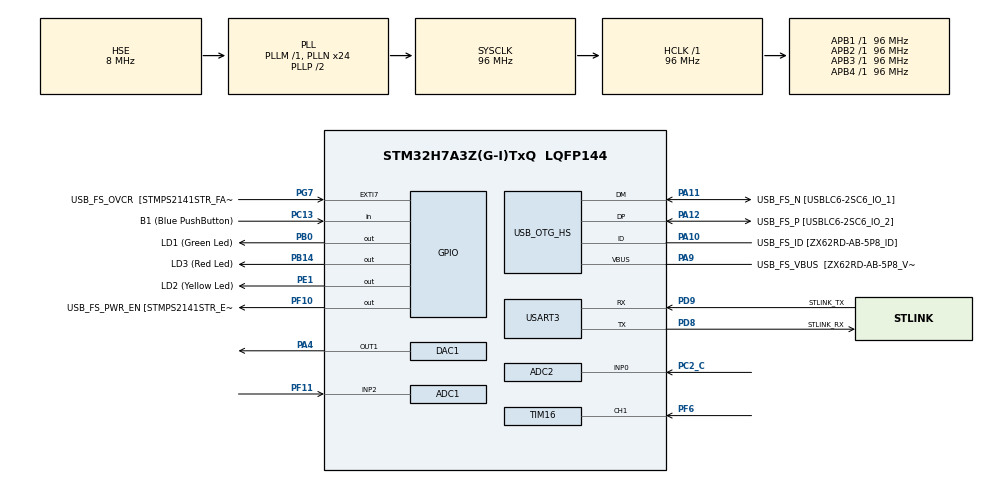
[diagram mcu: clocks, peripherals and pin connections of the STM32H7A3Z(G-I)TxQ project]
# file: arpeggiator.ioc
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ADC1.Channel-0\#ChannelRegularConversion=ADC_CHANNEL_2
ADC1.ContinuousConvMode=ENABLE
ADC1.NbrOfConversionFlag=1
ADC1.OffsetNumber-0\#ChannelRegularConversion=ADC_OFFSET_NONE
ADC1.OffsetSignedSaturation-0\#ChannelRegularConversion=DISABLE
ADC1.Rank-0\#ChannelRegularConversion=1
ADC1.SamplingTime-0\#ChannelRegularConversion=ADC_SAMPLETIME_1CYCLE_5
ADC1.master=1
ADC2.Channel-0\#ChannelRegularConversion=ADC_CHANNEL_0
ADC2.ContinuousConvMode=ENABLE
ADC2.NbrOfConversionFlag=1
ADC2.OffsetNumber-0\#ChannelRegularConversion=ADC_OFFSET_NONE
ADC2.OffsetSignedSaturation-0\#ChannelRegularConversion=DISABLE
ADC2.Rank-0\#ChannelRegularConversion=1
ADC2.SamplingTime-0\#ChannelRegularConversion=ADC_SAMPLETIME_1CYCLE_5
DAC1.DAC_Channel-DAC_OUT1_ExtAndInt=DAC_CHANNEL_1
Dma.ADC1.0.Direction=DMA_PERIPH_TO_MEMORY
Dma.ADC1.0.EventEnable=DISABLE
Dma.ADC1.0.FIFOMode=DMA_FIFOMODE_DISABLE
Dma.ADC1.0.Instance=DMA1_Stream0
Dma.ADC1.0.MemDataAlignment=DMA_MDATAALIGN_HALFWORD
Dma.ADC1.0.MemInc=DMA_MINC_ENABLE
Dma.ADC1.0.Mode=DMA_CIRCULAR
Dma.ADC1.0.PeriphDataAlignment=DMA_PDATAALIGN_HALFWORD
Dma.ADC1.0.PeriphInc=DMA_PINC_DISABLE
Dma.ADC1.0.Polarity=HAL_DMAMUX_REQ_GEN_RISING
Dma.ADC1.0.Priority=DMA_PRIORITY_LOW
Dma.ADC1.0.RequestNumber=1
Dma.ADC1.0.SignalID=NONE
Dma.ADC1.0.SyncEnable=DISABLE
Dma.ADC1.0.SyncPolarity=HAL_DMAMUX_SYNC_NO_EVENT
Dma.ADC1.0.SyncRequestNumber=1
Dma.ADC1.0.SyncSignalID=NONE
Dma.ADC2.1.Direction=DMA_PERIPH_TO_MEMORY
Dma.ADC2.1.EventEnable=DISABLE
Dma.ADC2.1.FIFOMode=DMA_FIFOMODE_DISABLE
Dma.ADC2.1.Instance=DMA1_Stream1
Dma.ADC2.1.MemDataAlignment=DMA_MDATAALIGN_HALFWORD
Dma.ADC2.1.MemInc=DMA_MINC_ENABLE
Dma.ADC2.1.Mode=DMA_CIRCULAR
Dma.ADC2.1.PeriphDataAlignment=DMA_PDATAALIGN_HALFWORD
Dma.ADC2.1.PeriphInc=DMA_PINC_DISABLE
Dma.ADC2.1.Polarity=HAL_DMAMUX_REQ_GEN_RISING
Dma.ADC2.1.Priority=DMA_PRIORITY_LOW
Dma.ADC2.1.RequestNumber=1
Dma.ADC2.1.SignalID=NONE
Dma.ADC2.1.SyncEnable=DISABLE
Dma.ADC2.1.SyncPolarity=HAL_DMAMUX_SYNC_NO_EVENT
Dma.ADC2.1.SyncRequestNumber=1
Dma.ADC2.1.SyncSignalID=NONE
Dma.Request0=ADC1
Dma.Request1=ADC2
Mcu.Family=STM32H7
Mcu.Name=STM32H7A3Z(G-I)TxQ
Mcu.Package=LQFP144
NVIC.DMA1_Stream0_IRQn=true\:0\:0\:false\:false\:true\:false\:true
NVIC.DMA1_Stream1_IRQn=true\:0\:0\:false\:false\:true\:false\:true
NVIC.PriorityGroup=NVIC_PRIORITYGROUP_4
PA10.GPIO_Label=USB_FS_ID [ZX62RD-AB-5P8_ID]
PA10.Mode=OTG/Dual-Role-Device-FS
PA10.Signal=USB_OTG_HS_ID
PA11.GPIO_Label=USB_FS_N [USBLC6-2SC6_IO_1]
PA11.Mode=OTG/Dual-Role-Device-FS
PA11.Signal=USB_OTG_HS_DM
PA12.GPIO_Label=USB_FS_P [USBLC6-2SC6_IO_2]
PA12.Mode=OTG/Dual-Role-Device-FS
PA12.Signal=USB_OTG_HS_DP
PA4.Signal=COMP_DAC11_group
PA9.GPIO_Label=USB_FS_VBUS  [ZX62RD-AB-5P8_VBUS]
PA9.Mode=Activate_VBUS_FS
PA9.Signal=USB_OTG_HS_VBUS
PB0.GPIO_Label=LD1 (Green Led)
PB0.Signal=GPIO_Output
PB14.GPIO_Label=LD3 (Red Led)
PB14.Signal=GPIO_Output
PC13.GPIO_Label=B1 (Blue PushButton)
PC13.Signal=GPIO_Input
PC14-OSC32_IN.GPIO_Label=OSC32_IN
PC14-OSC32_IN.Mode=LSE-External-Oscillator
PC14-OSC32_IN.Signal=RCC_OSC32_IN
PC15-OSC32_OUT.GPIO_Label=OSC32_OUT
PC15-OSC32_OUT.Mode=LSE-External-Oscillator
PC15-OSC32_OUT.Signal=RCC_OSC32_OUT
PC2_C.Mode=IN0-Single-Ended
PC2_C.Signal=ADC2_INP0
PD8.GPIO_Label=STLINK_RX
PD8.Mode=Asynchronous
PD8.Signal=USART3_TX
PD9.GPIO_Label=STLINK_TX
PD9.Mode=Asynchronous
PD9.Signal=USART3_RX
PE1.GPIO_Label=LD2 (Yellow Led)
PE1.Signal=GPIO_Output
PF10.GPIO_Label=USB_FS_PWR_EN [STMPS2141STR_EN]
PF10.Signal=GPIO_Output
PF11.Mode=IN2-Single-Ended
PF11.Signal=ADC1_INP2
PF6.Signal=S_TIM16_CH1
PG7.GPIO_Label=USB_FS_OVCR  [STMPS2141STR_FAULT]
PG7.Signal=GPXTI7
PH0-OSC_IN.GPIO_Label=PH0-MCU
PH0-OSC_IN.Mode=HSE-External-Clock-Source
PH0-OSC_IN.Signal=RCC_OSC_IN
PH1-OSC_OUT.GPIO_Label=PH1-MCU
PH1-OSC_OUT.Signal=RCC_OSC_OUT
ProjectManager.HeapSize=0x200
ProjectManager.StackSize=0x400
ProjectManager.TargetToolchain=STM32CubeIDE
RCC.ADCFreq_Value=64000000
RCC.APB1Freq_Value=96000000
RCC.APB2Freq_Value=96000000
RCC.APB3Freq_Value=96000000
RCC.APB4Freq_Value=96000000
RCC.CortexFreq_Value=96000000
RCC.DIVM1=1
RCC.DIVM2=1
RCC.DIVM3=1
RCC.DIVN1=24
RCC.DIVN2=16
RCC.DIVN3=24
RCC.DIVQ1=4
RCC.HCLKFreq_Value=96000000
RCC.HSE_VALUE=8000000
RCC.PLLFRACN=0
RCC.PLLSourceVirtual=RCC_PLLSOURCE_HSE
RCC.PWR_Regulator_Voltage_Scale=PWR_REGULATOR_VOLTAGE_SCALE0
RCC.SYSCLKFreq_VALUE=96000000
RCC.SYSCLKSource=RCC_SYSCLKSOURCE_PLLCLK
RCC.SupplySource=PWR_DIRECT_SMPS_SUPPLY
RCC.USBCLockSelection=RCC_USBCLKSOURCE_HSI48
RCC.USBFreq_Value=48000000
SH.COMP_DAC11_group.0=DAC1_OUT1,DAC_OUT1_ExtAndInt
SH.S_TIM16_CH1.0=TIM16_CH1,Input_Capture1_from_TI1
TIM1.Period=99
TIM1.Prescaler=99
TIM16.Channel=TIM_CHANNEL_1
TIM16.Period=3
USART3.VirtualMode-Asynchronous=VM_ASYNC
VP_TIM16_VS_ClockSourceINT.Mode=Enable_Timer
VP_TIM1_VS_ClockSourceINT.Mode=Internal
board=NUCLEO-H7A3ZI-Q

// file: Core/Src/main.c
/* USER CODE BEGIN Header */
/**
  ******************************************************************************
  * @file           : main.c
  * @brief          : Main program body
  ******************************************************************************
  * @attention
  *
  * <h2><center>&copy; Copyright (c) 2021 STMicroelectronics.
  * All rights reserved.</center></h2>
  *
  * This software component is licensed by ST under BSD 3-Clause license,
  * the "License"; You may not use this file except in compliance with the
  * License. You may obtain a copy of the License at:
  *                        opensource.org/licenses/BSD-3-Clause
  *
  ******************************************************************************
  */
/* USER CODE END Header */
#include "main.h"

/* USER CODE BEGIN Includes */
#include <stdio.h>
#include "retarget.h"
#include "adc.h"
#include "arp.h"
#include "tim.h"
/* USER CODE END Includes */

/* USER CODE BEGIN PD */
#define PULSES_PER_QUARTER_NOTE 4
/* USER CODE END PD */

ADC_HandleTypeDef hadc1;
ADC_HandleTypeDef hadc2;
DMA_HandleTypeDef hdma_adc1;
DMA_HandleTypeDef hdma_adc2;

DAC_HandleTypeDef hdac1;

TIM_HandleTypeDef htim1;
TIM_HandleTypeDef htim16;

UART_HandleTypeDef huart3;

/* USER CODE BEGIN PV */
ArpSettings arp_settings;
uint32_t adc1_buf[ADC_BUF_LEN];
uint32_t adc2_buf[ADC_BUF_LEN];
/* USER CODE END PV */

void SystemClock_Config(void);
void PeriphCommonClock_Config(void);
static void MX_GPIO_Init(void);
static void MX_USART3_UART_Init(void);
static void MX_USB_OTG_HS_USB_Init(void);
static void MX_DMA_Init(void);
static void MX_ADC2_Init(void);
static void MX_TIM1_Init(void);
static void MX_ADC1_Init(void);
static void MX_DAC1_Init(void);
static void MX_TIM16_Init(void);

/* USER CODE BEGIN 0 */
// Called when first half of buffer is filled
void HAL_ADC_ConvHalfCpltCallback(ADC_HandleTypeDef* hadc) {
	adc_buffer_half_full(hadc, adc1_buf, adc2_buf);
}

// Called when buffer is completely filled
void HAL_ADC_ConvCpltCallback(ADC_HandleTypeDef* hadc) {
	adc_buffer_full(hadc, adc1_buf, adc2_buf);
}

void HAL_TIM_PeriodElapsedCallback(TIM_HandleTypeDef *htim) {
	if (htim->Instance == TIM1) {
		arpeggiate(&arp_settings);
	} else if (htim->Instance == TIM16) {
		update_bpm(&arp_settings);
	}
}
/* USER CODE END 0 */

int main(void)
{

  /* MCU Configuration--------------------------------------------------------*/

  /* Reset of all peripherals, Initializes the Flash interface and the Systick. */
  HAL_Init();

  /* Configure the system clock */
  SystemClock_Config();

  /* Configure the peripherals common clocks */
  PeriphCommonClock_Config();

  /* Initialize all configured peripherals */
  MX_GPIO_Init();
  MX_USART3_UART_Init();
  MX_USB_OTG_HS_USB_Init();
  MX_DMA_Init();
  MX_ADC2_Init();
  MX_TIM1_Init();
  MX_ADC1_Init();
  MX_DAC1_Init();
  MX_TIM16_Init();

  /* USER CODE BEGIN 2 */
  arp_init(&arp_settings);
  adc_init(&hadc1, &hadc2, adc1_buf, adc2_buf);
  tim_init(&htim1);

  /* USER CODE END 2 */

  /* Infinite loop */
  while (1)
  {

  }
}

void SystemClock_Config(void)
{
  RCC_OscInitTypeDef RCC_OscInitStruct = {0};
  RCC_ClkInitTypeDef RCC_ClkInitStruct = {0};

  /** Supply configuration update enable
  */
  HAL_PWREx_ConfigSupply(PWR_DIRECT_SMPS_SUPPLY);
  /** Configure the main internal regulator output voltage
  */
  __HAL_PWR_VOLTAGESCALING_CONFIG(PWR_REGULATOR_VOLTAGE_SCALE0);

  while(!__HAL_PWR_GET_FLAG(PWR_FLAG_VOSRDY)) {}
  /** Macro to configure the PLL clock source
  */
  __HAL_RCC_PLL_PLLSOURCE_CONFIG(RCC_PLLSOURCE_HSE);
  /** Initializes the RCC Oscillators according to the specified parameters
  * in the RCC_OscInitTypeDef structure.
  */
  RCC_OscInitStruct.OscillatorType = RCC_OSCILLATORTYPE_HSI48|RCC_OSCILLATORTYPE_LSI
                              |RCC_OSCILLATORTYPE_HSE;
  RCC_OscInitStruct.HSEState = RCC_HSE_BYPASS;
  RCC_OscInitStruct.LSIState = RCC_LSI_ON;
  RCC_OscInitStruct.HSI48State = RCC_HSI48_ON;
  RCC_OscInitStruct.PLL.PLLState = RCC_PLL_ON;
  RCC_OscInitStruct.PLL.PLLSource = RCC_PLLSOURCE_HSE;
  RCC_OscInitStruct.PLL.PLLM = 1;
  RCC_OscInitStruct.PLL.PLLN = 24;
  RCC_OscInitStruct.PLL.PLLP = 2;
  RCC_OscInitStruct.PLL.PLLQ = 4;
  RCC_OscInitStruct.PLL.PLLR = 2;
  RCC_OscInitStruct.PLL.PLLRGE = RCC_PLL1VCIRANGE_3;
  RCC_OscInitStruct.PLL.PLLVCOSEL = RCC_PLL1VCOWIDE;
  RCC_OscInitStruct.PLL.PLLFRACN = 0;
  if (HAL_RCC_OscConfig(&RCC_OscInitStruct) != HAL_OK)
  {
    Error_Handler();
  }
  /** Initializes the CPU, AHB and APB buses clocks
  */
  RCC_ClkInitStruct.ClockType = RCC_CLOCKTYPE_HCLK|RCC_CLOCKTYPE_SYSCLK
                              |RCC_CLOCKTYPE_PCLK1|RCC_CLOCKTYPE_PCLK2
                              |RCC_CLOCKTYPE_D3PCLK1|RCC_CLOCKTYPE_D1PCLK1;
  RCC_ClkInitStruct.SYSCLKSource = RCC_SYSCLKSOURCE_PLLCLK;
  RCC_ClkInitStruct.SYSCLKDivider = RCC_SYSCLK_DIV1;
  RCC_ClkInitStruct.AHBCLKDivider = RCC_HCLK_DIV1;
  RCC_ClkInitStruct.APB3CLKDivider = RCC_APB3_DIV1;
  RCC_ClkInitStruct.APB1CLKDivider = RCC_APB1_DIV1;
  RCC_ClkInitStruct.APB2CLKDivider = RCC_APB2_DIV1;
  RCC_ClkInitStruct.APB4CLKDivider = RCC_APB4_DIV1;

  if (HAL_RCC_ClockConfig(&RCC_ClkInitStruct, FLASH_LATENCY_2) != HAL_OK)
  {
    Error_Handler();
  }
}

void PeriphCommonClock_Config(void)
{
  RCC_PeriphCLKInitTypeDef PeriphClkInitStruct = {0};

  /** Initializes the peripherals clock
  */
  PeriphClkInitStruct.PeriphClockSelection = RCC_PERIPHCLK_ADC;
  PeriphClkInitStruct.PLL2.PLL2M = 1;
  PeriphClkInitStruct.PLL2.PLL2N = 16;
  PeriphClkInitStruct.PLL2.PLL2P = 2;
  PeriphClkInitStruct.PLL2.PLL2Q = 2;
  PeriphClkInitStruct.PLL2.PLL2R = 2;
  PeriphClkInitStruct.PLL2.PLL2RGE = RCC_PLL2VCIRANGE_3;
  PeriphClkInitStruct.PLL2.PLL2VCOSEL = RCC_PLL2VCOWIDE;
  PeriphClkInitStruct.PLL2.PLL2FRACN = 0;
  PeriphClkInitStruct.AdcClockSelection = RCC_ADCCLKSOURCE_PLL2;
  if (HAL_RCCEx_PeriphCLKConfig(&PeriphClkInitStruct) != HAL_OK)
  {
    Error_Handler();
  }
}

static void MX_ADC1_Init(void)
{

  ADC_MultiModeTypeDef multimode = {0};
  ADC_ChannelConfTypeDef sConfig = {0};

  /** Common config
  */
  hadc1.Instance = ADC1;
  hadc1.Init.ClockPrescaler = ADC_CLOCK_ASYNC_DIV1;
  hadc1.Init.Resolution = ADC_RESOLUTION_16B;
  hadc1.Init.ScanConvMode = ADC_SCAN_DISABLE;
  hadc1.Init.EOCSelection = ADC_EOC_SINGLE_CONV;
  hadc1.Init.LowPowerAutoWait = DISABLE;
  hadc1.Init.ContinuousConvMode = ENABLE;
  hadc1.Init.NbrOfConversion = 1;
  hadc1.Init.DiscontinuousConvMode = DISABLE;
  hadc1.Init.ExternalTrigConv = ADC_SOFTWARE_START;
  hadc1.Init.ExternalTrigConvEdge = ADC_EXTERNALTRIGCONVEDGE_NONE;
  hadc1.Init.ConversionDataManagement = ADC_CONVERSIONDATA_DR;
  hadc1.Init.Overrun = ADC_OVR_DATA_PRESERVED;
  hadc1.Init.LeftBitShift = ADC_LEFTBITSHIFT_NONE;
  hadc1.Init.OversamplingMode = DISABLE;
  if (HAL_ADC_Init(&hadc1) != HAL_OK)
  {
    Error_Handler();
  }
  /** Configure the ADC multi-mode
  */
  multimode.Mode = ADC_MODE_INDEPENDENT;
  if (HAL_ADCEx_MultiModeConfigChannel(&hadc1, &multimode) != HAL_OK)
  {
    Error_Handler();
  }
  /** Configure Regular Channel
  */
  sConfig.Channel = ADC_CHANNEL_2;
  sConfig.Rank = ADC_REGULAR_RANK_1;
  sConfig.SamplingTime = ADC_SAMPLETIME_1CYCLE_5;
  sConfig.SingleDiff = ADC_SINGLE_ENDED;
  sConfig.OffsetNumber = ADC_OFFSET_NONE;
  sConfig.Offset = 0;
  sConfig.OffsetSignedSaturation = DISABLE;
  if (HAL_ADC_ConfigChannel(&hadc1, &sConfig) != HAL_OK)
  {
    Error_Handler();
  }

}

static void MX_ADC2_Init(void)
{

  ADC_ChannelConfTypeDef sConfig = {0};

  /** Common config
  */
  hadc2.Instance = ADC2;
  hadc2.Init.ClockPrescaler = ADC_CLOCK_ASYNC_DIV1;
  hadc2.Init.Resolution = ADC_RESOLUTION_16B;
  hadc2.Init.ScanConvMode = ADC_SCAN_DISABLE;
  hadc2.Init.EOCSelection = ADC_EOC_SINGLE_CONV;
  hadc2.Init.LowPowerAutoWait = DISABLE;
  hadc2.Init.ContinuousConvMode = ENABLE;
  hadc2.Init.NbrOfConversion = 1;
  hadc2.Init.DiscontinuousConvMode = DISABLE;
  hadc2.Init.ExternalTrigConv = ADC_SOFTWARE_START;
  hadc2.Init.ExternalTrigConvEdge = ADC_EXTERNALTRIGCONVEDGE_NONE;
  hadc2.Init.ConversionDataManagement = ADC_CONVERSIONDATA_DR;
  hadc2.Init.Overrun = ADC_OVR_DATA_PRESERVED;
  hadc2.Init.LeftBitShift = ADC_LEFTBITSHIFT_NONE;
  hadc2.Init.OversamplingMode = DISABLE;
  if (HAL_ADC_Init(&hadc2) != HAL_OK)
  {
    Error_Handler();
  }
  /** Configure Regular Channel
  */
  sConfig.Channel = ADC_CHANNEL_0;
  sConfig.Rank = ADC_REGULAR_RANK_1;
  sConfig.SamplingTime = ADC_SAMPLETIME_1CYCLE_5;
  sConfig.SingleDiff = ADC_SINGLE_ENDED;
  sConfig.OffsetNumber = ADC_OFFSET_NONE;
  sConfig.Offset = 0;
  sConfig.OffsetSignedSaturation = DISABLE;
  if (HAL_ADC_ConfigChannel(&hadc2, &sConfig) != HAL_OK)
  {
    Error_Handler();
  }

}

static void MX_DAC1_Init(void)
{

  DAC_ChannelConfTypeDef sConfig = {0};

  /** DAC Initialization
  */
  hdac1.Instance = DAC1;
  if (HAL_DAC_Init(&hdac1) != HAL_OK)
  {
    Error_Handler();
  }
  /** DAC channel OUT1 config
  */
  sConfig.DAC_SampleAndHold = DAC_SAMPLEANDHOLD_DISABLE;
  sConfig.DAC_Trigger = DAC_TRIGGER_NONE;
  sConfig.DAC_OutputBuffer = DAC_OUTPUTBUFFER_ENABLE;
  sConfig.DAC_ConnectOnChipPeripheral = DAC_CHIPCONNECT_ENABLE;
  sConfig.DAC_UserTrimming = DAC_TRIMMING_FACTORY;
  if (HAL_DAC_ConfigChannel(&hdac1, &sConfig, DAC_CHANNEL_1) != HAL_OK)
  {
    Error_Handler();
  }

}

static void MX_TIM1_Init(void)
{

  TIM_ClockConfigTypeDef sClockSourceConfig = {0};
  TIM_MasterConfigTypeDef sMasterConfig = {0};

  htim1.Instance = TIM1;
  htim1.Init.Prescaler = 99;
  htim1.Init.CounterMode = TIM_COUNTERMODE_UP;
  htim1.Init.Period = 99;
  htim1.Init.ClockDivision = TIM_CLOCKDIVISION_DIV1;
  htim1.Init.RepetitionCounter = 0;
  htim1.Init.AutoReloadPreload = TIM_AUTORELOAD_PRELOAD_DISABLE;
  if (HAL_TIM_Base_Init(&htim1) != HAL_OK)
  {
    Error_Handler();
  }
  sClockSourceConfig.ClockSource = TIM_CLOCKSOURCE_INTERNAL;
  if (HAL_TIM_ConfigClockSource(&htim1, &sClockSourceConfig) != HAL_OK)
  {
    Error_Handler();
  }
  sMasterConfig.MasterOutputTrigger = TIM_TRGO_RESET;
  sMasterConfig.MasterOutputTrigger2 = TIM_TRGO2_RESET;
  sMasterConfig.MasterSlaveMode = TIM_MASTERSLAVEMODE_DISABLE;
  if (HAL_TIMEx_MasterConfigSynchronization(&htim1, &sMasterConfig) != HAL_OK)
  {
    Error_Handler();
  }

}

static void MX_TIM16_Init(void)
{

  TIM_IC_InitTypeDef sConfigIC = {0};

  htim16.Instance = TIM16;
  htim16.Init.Prescaler = 0;
  htim16.Init.CounterMode = TIM_COUNTERMODE_UP;
  htim16.Init.ClockDivision = TIM_CLOCKDIVISION_DIV1;
  htim16.Init.RepetitionCounter = 0;
  htim16.Init.AutoReloadPreload = TIM_AUTORELOAD_PRELOAD_DISABLE;
  if (HAL_TIM_Base_Init(&htim16) != HAL_OK)
  {
    Error_Handler();
  }
  if (HAL_TIM_IC_Init(&htim16) != HAL_OK)
  {
    Error_Handler();
  }
  sConfigIC.ICPolarity = TIM_INPUTCHANNELPOLARITY_RISING;
  sConfigIC.ICSelection = TIM_ICSELECTION_DIRECTTI;
  sConfigIC.ICPrescaler = TIM_ICPSC_DIV1;
  sConfigIC.ICFilter = 0;
  if (HAL_TIM_IC_ConfigChannel(&htim16, &sConfigIC, TIM_CHANNEL_1) != HAL_OK)
  {
    Error_Handler();
  }
  /* USER CODE BEGIN TIM16_Init 2 */
  htim16.Init.Period = PULSES_PER_QUARTER_NOTE - 1;
  /* USER CODE END TIM16_Init 2 */

}

static void MX_USART3_UART_Init(void)
{

  huart3.Instance = USART3;
  huart3.Init.BaudRate = 115200;
  huart3.Init.WordLength = UART_WORDLENGTH_8B;
  huart3.Init.StopBits = UART_STOPBITS_1;
  huart3.Init.Parity = UART_PARITY_NONE;
  huart3.Init.Mode = UART_MODE_TX_RX;
  huart3.Init.HwFlowCtl = UART_HWCONTROL_NONE;
  huart3.Init.OverSampling = UART_OVERSAMPLING_16;
  huart3.Init.OneBitSampling = UART_ONE_BIT_SAMPLE_DISABLE;
  huart3.Init.ClockPrescaler = UART_PRESCALER_DIV1;
  huart3.AdvancedInit.AdvFeatureInit = UART_ADVFEATURE_NO_INIT;
  if (HAL_UART_Init(&huart3) != HAL_OK)
  {
    Error_Handler();
  }
  if (HAL_UARTEx_SetTxFifoThreshold(&huart3, UART_TXFIFO_THRESHOLD_1_8) != HAL_OK)
  {
    Error_Handler();
  }
  if (HAL_UARTEx_SetRxFifoThreshold(&huart3, UART_RXFIFO_THRESHOLD_1_8) != HAL_OK)
  {
    Error_Handler();
  }
  if (HAL_UARTEx_DisableFifoMode(&huart3) != HAL_OK)
  {
    Error_Handler();
  }

}

static void MX_USB_OTG_HS_USB_Init(void)
{

}

static void MX_DMA_Init(void)
{

  /* DMA controller clock enable */
  __HAL_RCC_DMA1_CLK_ENABLE();

  /* DMA interrupt init */
  /* DMA1_Stream0_IRQn interrupt configuration */
  HAL_NVIC_SetPriority(DMA1_Stream0_IRQn, 0, 0);
  HAL_NVIC_EnableIRQ(DMA1_Stream0_IRQn);
  /* DMA1_Stream1_IRQn interrupt configuration */
  HAL_NVIC_SetPriority(DMA1_Stream1_IRQn, 0, 0);
  HAL_NVIC_EnableIRQ(DMA1_Stream1_IRQn);

}

static void MX_GPIO_Init(void)
{
  GPIO_InitTypeDef GPIO_InitStruct = {0};

  /* GPIO Ports Clock Enable */
  __HAL_RCC_GPIOC_CLK_ENABLE();
  __HAL_RCC_GPIOF_CLK_ENABLE();
  __HAL_RCC_GPIOH_CLK_ENABLE();
  __HAL_RCC_GPIOA_CLK_ENABLE();
  __HAL_RCC_GPIOB_CLK_ENABLE();
  __HAL_RCC_GPIOD_CLK_ENABLE();
  __HAL_RCC_GPIOG_CLK_ENABLE();
  __HAL_RCC_GPIOE_CLK_ENABLE();

  /*Configure GPIO pin Output Level */
  HAL_GPIO_WritePin(USB_FS_PWR_EN_GPIO_Port, USB_FS_PWR_EN_Pin, GPIO_PIN_RESET);

  /*Configure GPIO pin Output Level */
  HAL_GPIO_WritePin(GPIOB, LD1_Pin|LD3_Pin, GPIO_PIN_RESET);

  /*Configure GPIO pin Output Level */
  HAL_GPIO_WritePin(LD2_GPIO_Port, LD2_Pin, GPIO_PIN_RESET);

  /*Configure GPIO pin : B1_Pin */
  GPIO_InitStruct.Pin = B1_Pin;
  GPIO_InitStruct.Mode = GPIO_MODE_INPUT;
  GPIO_InitStruct.Pull = GPIO_NOPULL;
  HAL_GPIO_Init(B1_GPIO_Port, &GPIO_InitStruct);

  /*Configure GPIO pin : USB_FS_PWR_EN_Pin */
  GPIO_InitStruct.Pin = USB_FS_PWR_EN_Pin;
  GPIO_InitStruct.Mode = GPIO_MODE_OUTPUT_PP;
  GPIO_InitStruct.Pull = GPIO_NOPULL;
  GPIO_InitStruct.Speed = GPIO_SPEED_FREQ_LOW;
  HAL_GPIO_Init(USB_FS_PWR_EN_GPIO_Port, &GPIO_InitStruct);

  /*Configure GPIO pins : LD1_Pin LD3_Pin */
  GPIO_InitStruct.Pin = LD1_Pin|LD3_Pin;
  GPIO_InitStruct.Mode = GPIO_MODE_OUTPUT_PP;
  GPIO_InitStruct.Pull = GPIO_NOPULL;
  GPIO_InitStruct.Speed = GPIO_SPEED_FREQ_LOW;
  HAL_GPIO_Init(GPIOB, &GPIO_InitStruct);

  /*Configure GPIO pin : USB_FS_OVCR_Pin */
  GPIO_InitStruct.Pin = USB_FS_OVCR_Pin;
  GPIO_InitStruct.Mode = GPIO_MODE_IT_RISING;
  GPIO_InitStruct.Pull = GPIO_NOPULL;
  HAL_GPIO_Init(USB_FS_OVCR_GPIO_Port, &GPIO_InitStruct);

  /*Configure GPIO pin : USB_FS_VBUS_Pin */
  GPIO_InitStruct.Pin = USB_FS_VBUS_Pin;
  GPIO_InitStruct.Mode = GPIO_MODE_INPUT;
  GPIO_InitStruct.Pull = GPIO_NOPULL;
  HAL_GPIO_Init(USB_FS_VBUS_GPIO_Port, &GPIO_InitStruct);

  /*Configure GPIO pin : USB_FS_ID_Pin */
  GPIO_InitStruct.Pin = USB_FS_ID_Pin;
  GPIO_InitStruct.Mode = GPIO_MODE_AF_PP;
  GPIO_InitStruct.Pull = GPIO_NOPULL;
  GPIO_InitStruct.Speed = GPIO_SPEED_FREQ_LOW;
  GPIO_InitStruct.Alternate = GPIO_AF10_OTG1_HS;
  HAL_GPIO_Init(USB_FS_ID_GPIO_Port, &GPIO_InitStruct);

  /*Configure GPIO pins : USB_FS_N_Pin USB_FS_P_Pin */
  GPIO_InitStruct.Pin = USB_FS_N_Pin|USB_FS_P_Pin;
  GPIO_InitStruct.Mode = GPIO_MODE_AF_PP;
  GPIO_InitStruct.Pull = GPIO_NOPULL;
  GPIO_InitStruct.Speed = GPIO_SPEED_FREQ_LOW;
  HAL_GPIO_Init(GPIOA, &GPIO_InitStruct);

  /*Configure GPIO pin : LD2_Pin */
  GPIO_InitStruct.Pin = LD2_Pin;
  GPIO_InitStruct.Mode = GPIO_MODE_OUTPUT_PP;
  GPIO_InitStruct.Pull = GPIO_NOPULL;
  GPIO_InitStruct.Speed = GPIO_SPEED_FREQ_LOW;
  HAL_GPIO_Init(LD2_GPIO_Port, &GPIO_InitStruct);

}

void Error_Handler(void)
{
  __disable_irq();
  while (1)
  {
  }
}

/************************ (C) COPYRIGHT STMicroelectronics *****END OF FILE****/
